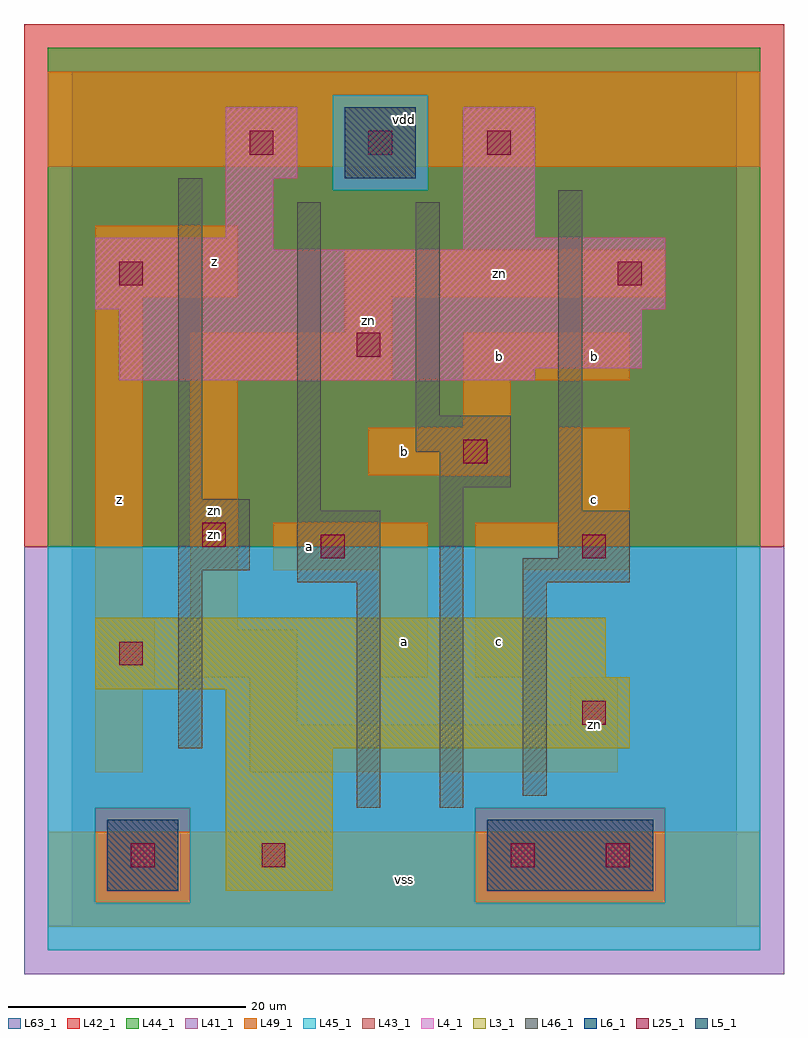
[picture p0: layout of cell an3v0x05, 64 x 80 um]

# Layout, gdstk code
import gdstk
lib = gdstk.Library(unit=1e-6, precision=1e-09)
def R(c, l, rs):  # rectangles x0, y0, x1, y1
    for r in rs: c.add(gdstk.rectangle(r[:2], r[2:], *l))
def A(c, l, x, y, w, h, nx, ny, dx, dy):  # array of equal rectangles
    R(c, l, [(x+i*dx, y+j*dy, x+i*dx+w, y+j*dy+h) for i in range(nx) for j in range(ny)])
L3_1 = (3, 1)
L4_1 = (4, 1)
L5_1 = (5, 1)
L6_1 = (6, 1)
L25_1 = (25, 1)
L41_1 = (41, 1)
L42_1 = (42, 1)
L43_1 = (43, 1)
L44_1 = (44, 1)
L45_1 = (45, 1)
L46_1 = (46, 1)
L49_1 = (49, 1)
L63_1 = (63, 1)

an3v0x05 = lib.new_cell('an3v0x05')
R(an3v0x05, L3_1, [(13,3,22,15), (13,15,47,20), (2,20,47,21), (2,21,45,26)])
R(an3v0x05, L4_1, [(4,46,39,47), (4,47,48,52), (2,52,50,57), (2,57,17,58), (33,57,50,58), (13,58,17,63), (33,58,39,69), (13,63,19,69)])
R(an3v0x05, L5_1, [(23,63,29,69)])
R(an3v0x05, L6_1, [(3,3,9,9), (3,3,9,9), (35,3,49,9), (35,3,49,9)])
A(an3v0x05, L25_1, 15, 65, 2, 2, 3, 1, 10, 0)
R(an3v0x05, L25_1, [(5,5,7,7), (16,5,18,7), (37,5,39,7), (45,5,47,7), (43,17,45,19), (4,22,6,24), (21,31,23,33), (43,31,45,33), (11,32,13,34), (33,39,35,41), (24,48,26,50), (4,54,6,56), (46,54,48,56)])
R(an3v0x05, L41_1, [(-4,-4,60,32)])
R(an3v0x05, L42_1, [(-4,32,60,76)])
R(an3v0x05, L43_1, [(3,3,9,9), (13,3,22,15), (35,3,49,9), (13,15,47,20), (2,20,47,21), (2,21,45,26), (4,46,39,47), (4,47,48,52), (2,52,50,57), (2,57,17,58), (33,57,50,58), (13,58,17,63), (33,58,39,69), (13,63,19,69), (23,63,29,69)])
R(an3v0x05, L44_1, [(2,2,10,10), (34,2,50,10), (-2,32,58,62), (-2,62,22,70), (30,62,58,70), (-2,70,58,74)])
R(an3v0x05, L45_1, [(-2,-2,58,2), (-2,2,2,10), (10,2,34,10), (50,2,58,10), (-2,10,58,32), (22,62,30,70)])
R(an3v0x05, L46_1, [(24,10,26,29), (31,10,33,37), (38,11,40,29), (9,15,11,30), (19,29,26,35), (38,29,47,31), (9,30,15,36), (41,31,47,35), (19,35,21,61), (41,35,43,62), (9,36,11,63), (31,37,37,40), (29,40,37,43), (29,43,31,61)])
R(an3v0x05, L49_1, [(-2,0,58,8), (2,13,6,20), (15,13,46,17), (15,17,19,21), (42,17,46,21), (2,20,7,26), (10,21,19,25), (26,21,30,30), (34,21,38,30), (10,25,14,46), (2,26,6,53), (17,30,30,34), (34,30,47,34), (41,34,47,42), (25,38,37,42), (33,42,37,46), (10,46,27,50), (33,46,47,50), (23,50,27,53), (2,53,14,59), (23,53,50,57), (-2,64,58,72)])
R(an3v0x05, L63_1, [(0,0,56,72)])
an3v0x05.add(gdstk.Label('zn', (12,33), layer=49, texttype=1))
an3v0x05.add(gdstk.Label('z', (4,36), layer=49, texttype=1))
an3v0x05.add(gdstk.Label('a', (20,32), layer=49, texttype=1))
an3v0x05.add(gdstk.Label('zn', (12,35), layer=49, texttype=1))
an3v0x05.add(gdstk.Label('zn', (25,51), layer=49, texttype=1))
an3v0x05.add(gdstk.Label('z', (12,56), layer=49, texttype=1))
an3v0x05.add(gdstk.Label('vss', (28,4), layer=49, texttype=1))
an3v0x05.add(gdstk.Label('a', (28,24), layer=49, texttype=1))
an3v0x05.add(gdstk.Label('c', (36,24), layer=49, texttype=1))
an3v0x05.add(gdstk.Label('b', (28,40), layer=49, texttype=1))
an3v0x05.add(gdstk.Label('b', (36,48), layer=49, texttype=1))
an3v0x05.add(gdstk.Label('vdd', (28,68), layer=49, texttype=1))
an3v0x05.add(gdstk.Label('zn', (44,17), layer=49, texttype=1))
an3v0x05.add(gdstk.Label('c', (44,36), layer=49, texttype=1))
an3v0x05.add(gdstk.Label('b', (44,48), layer=49, texttype=1))
an3v0x05.add(gdstk.Label('zn', (36,55), layer=49, texttype=1))

lib.write_gds('an3v0x05.gds')
